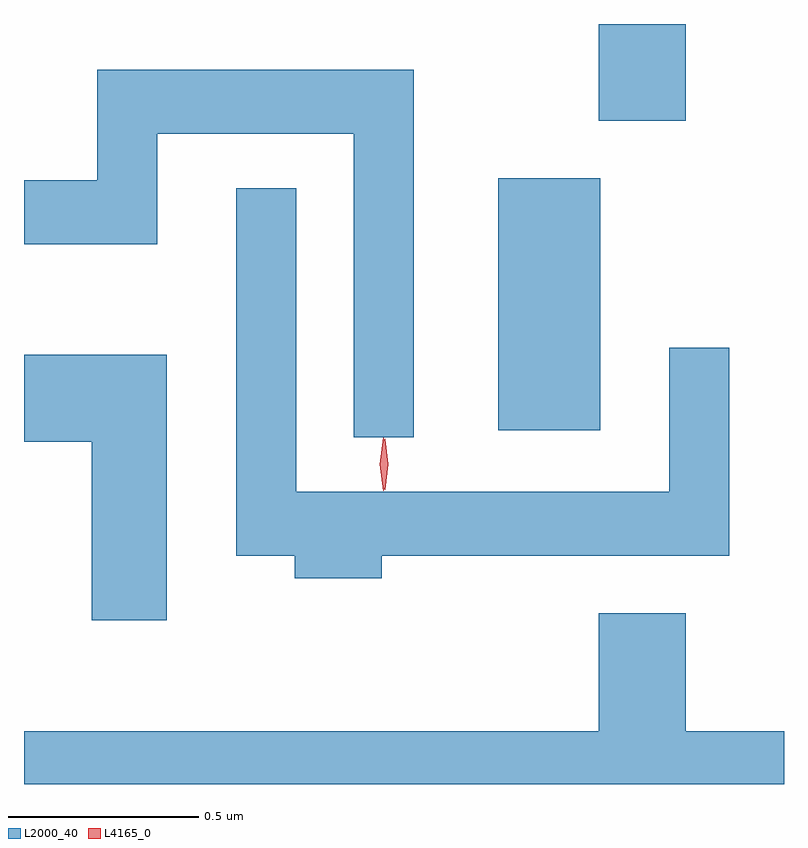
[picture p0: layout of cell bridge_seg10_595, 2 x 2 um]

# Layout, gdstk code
import gdstk
lib = gdstk.Library(unit=1e-6, precision=1e-09)
def R(c, l, rs):  # rectangles x0, y0, x1, y1
    for r in rs: c.add(gdstk.rectangle(r[:2], r[2:], *l))
def P(c, l, *ps):  # polygons
    for p in ps: c.add(gdstk.Polygon(p, *l))
L2000_40 = (2000, 40)
L4165_0 = (4165, 0)

bridge_seg10_595 = lib.new_cell('bridge_seg10_595')
R(bridge_seg10_595, L2000_40, [(783.576,2183.796,783.844,2184.459), (783.841,2184.611,784.069,2184.865)])
P(bridge_seg10_595, L2000_40, [(783.354,2184.744),(782.521,2184.744),(782.521,2184.454),(782.328,2184.454),(782.328,2184.286),(782.679,2184.286),(782.679,2184.576),(783.196,2184.576),(783.196,2183.778),(783.354,2183.778)],
  [(783.269,2183.466),(784.184,2183.466),(784.184,2184.013),(784.026,2184.013),(784.026,2183.634),(783.044,2183.634),(783.044,2184.433),(782.886,2184.433),(782.886,2183.466),(783.041,2183.466),(783.041,2183.406),(783.269,2183.406)],
  [(782.704,2183.994),(782.328,2183.994),(782.328,2183.766),(782.506,2183.766),(782.506,2183.296),(782.704,2183.296)],
  [(784.328,2183.004),(784.069,2183.004),(784.069,2183.314),(783.841,2183.314),(783.841,2183.004),(782.328,2183.004),(782.328,2182.865),(784.328,2182.865)])
P(bridge_seg10_595, L4165_0, [(783.274,2183.637),(783.274,2183.637),(783.264,2183.707),(783.274,2183.776),(783.274,2183.776),(783.275,2183.776),(783.284,2183.707),(783.275,2183.637)],
  [(783.277,2183.64),(783.268,2183.706),(783.277,2183.772),(783.278,2183.773),(783.278,2183.772),(783.287,2183.706),(783.278,2183.64),(783.278,2183.64)])

lib.write_gds('bridge_seg10_595.gds')
